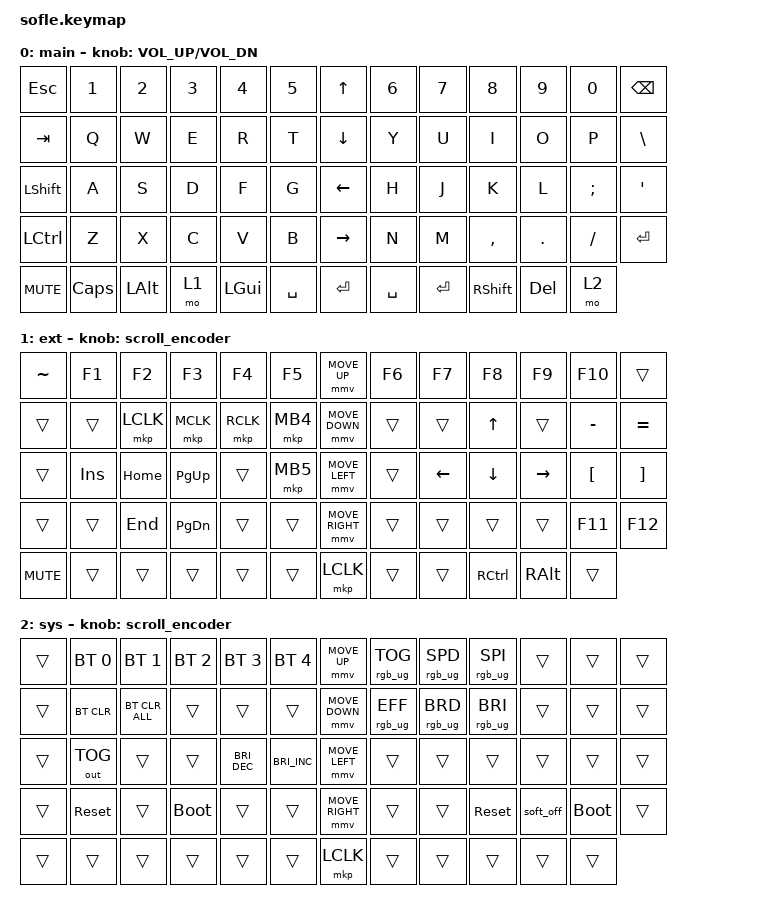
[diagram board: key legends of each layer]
#include <behaviors/mouse_keys.dtsi>
#include <behaviors.dtsi>
#include <dt-bindings/zmk/bt.h>
#include <dt-bindings/zmk/keys.h>
#include <dt-bindings/zmk/mouse.h>
#include <dt-bindings/zmk/outputs.h>
#include <dt-bindings/zmk/rgb.h>

#define ZMK_MOUSE_DEFAULT_MOVE_VAL 1200  // 600
#define ZMK_MOUSE_DEFAULT_SCRL_VAL 20    // 10
#define U_MS_U &mmv MOVE_UP
#define U_MS_D &mmv MOVE_DOWN
#define U_MS_L &mmv MOVE_LEFT
#define U_MS_R &mmv MOVE_RIGHT
#define ZMK_MOUSE_DEFAULT_MOVE_VAL 1200  //  600
#define ZMK_MOUSE_DEFAULT_SCRL_VAL 20    // 10

/ {
    behaviors {
        mmv {
            acceleration-exponent = <1>;      // 1
            time-to-max-speed-ms = <900>;    // 40
            delay-ms = <0>;                   // 0
        };

        msc {
            acceleration-exponent = <1>;      // 0
            time-to-max-speed-ms = <400>;      // 500
            delay-ms = <0>;                   //   10
        };
    };

    scroll_encoder: scroll_encoder {
        compatible = "zmk,behavior-sensor-rotate";
        #sensor-binding-cells = <0>;
        bindings = <&msc SCRL_DOWN>, <&msc SCRL_UP>;

        tap-ms = <30>;
    };

    keymap {
        compatible = "zmk,keymap";

        main {
            bindings = <
&kp ESC           &kp N1    &kp N2        &kp N3  &kp N4        &kp N5       &kp UP_ARROW     &kp N6     &kp N7     &kp N8           &kp N9      &kp N0    &kp BACKSPACE
&kp TAB           &kp Q     &kp W         &kp E   &kp R         &kp T        &kp DOWN_ARROW   &kp Y      &kp U      &kp I            &kp O       &kp P     &kp BSLH
&kp LEFT_SHIFT    &kp A     &kp S         &kp D   &kp F         &kp G        &kp LEFT_ARROW   &kp H      &kp J      &kp K            &kp L       &kp SEMI  &kp APOS
&kp LEFT_CONTROL  &kp Z     &kp X         &kp C   &kp V         &kp B        &kp RIGHT_ARROW  &kp N      &kp M      &kp COMMA        &kp DOT     &kp FSLH  &kp ENTER
&kp C_MUTE        &kp CAPS  &kp LEFT_ALT  &mo 1   &kp LEFT_GUI  &kp SPACE    &kp ENTER        &kp SPACE  &kp ENTER  &kp RIGHT_SHIFT  &kp DELETE  &mo 2
            >;

            sensor-bindings = <&inc_dec_kp C_VOLUME_UP C_VOL_DN>;
            display-name = "main";
        };

        ext {
            bindings = <
&kp TILDE   &kp F1      &kp F2     &kp F3         &kp F4     &kp F5      &mmv MOVE_UP     &kp F6  &kp F7    &kp F8             &kp F9         &kp F10           &trans
&trans      &trans      &mkp LCLK  &mkp MCLK      &mkp RCLK  &mkp MB4    &mmv MOVE_DOWN   &trans  &trans    &kp UP             &trans         &kp MINUS         &kp EQUAL
&trans      &kp INSERT  &kp HOME   &kp PAGE_UP    &trans     &mkp MB5    &mmv MOVE_LEFT   &trans  &kp LEFT  &kp DOWN           &kp RIGHT      &kp LEFT_BRACKET  &kp RIGHT_BRACKET
&trans      &trans      &kp END    &kp PAGE_DOWN  &trans     &trans      &mmv MOVE_RIGHT  &trans  &trans    &trans             &trans         &kp F11           &kp F12
&kp C_MUTE  &trans      &trans     &trans         &trans     &trans      &mkp LCLK        &trans  &trans    &kp RIGHT_CONTROL  &kp RIGHT_ALT  &trans
            >;

            display-name = "ext";
            sensor-bindings = <&scroll_encoder>;
        };

        sys {
            bindings = <
&trans  &bt BT_SEL 0  &bt BT_SEL 1    &bt BT_SEL 2  &bt BT_SEL 3          &bt BT_SEL 4            &mmv MOVE_UP     &rgb_ug RGB_TOG  &rgb_ug RGB_SPD  &rgb_ug RGB_SPI  &trans     &trans       &trans
&trans  &bt BT_CLR    &bt BT_CLR_ALL  &trans        &trans                &trans                  &mmv MOVE_DOWN   &rgb_ug RGB_EFF  &rgb_ug RGB_BRD  &rgb_ug RGB_BRI  &trans     &trans       &trans
&trans  &out OUT_TOG  &trans          &trans        &kp C_BRIGHTNESS_DEC  &kp C_BRIGHTNESS_INC    &mmv MOVE_LEFT   &trans           &trans           &trans           &trans     &trans       &trans
&trans  &sys_reset    &trans          &bootloader   &trans                &trans                  &mmv MOVE_RIGHT  &trans           &trans           &sys_reset       &soft_off  &bootloader  &trans
&trans  &trans        &trans          &trans        &trans                &trans                  &mkp LCLK        &trans           &trans           &trans           &trans     &trans
            >;

            sensor-bindings = <&scroll_encoder>;
            label = "sys";
        };
    };
};
